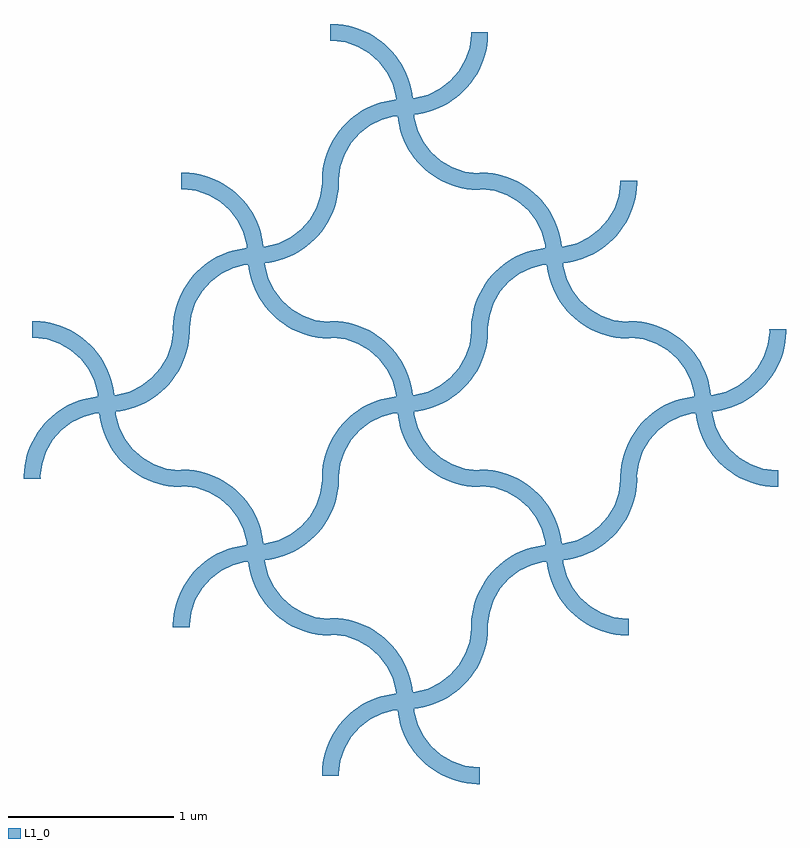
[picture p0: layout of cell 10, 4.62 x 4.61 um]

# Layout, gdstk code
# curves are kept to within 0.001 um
import gdstk
lib = gdstk.Library(unit=1e-6, precision=1e-09)
def P(c, l, *ps):  # polygons
    for p in ps: c.add(gdstk.Polygon(p, *l))
L1_0 = (1, 0)

c_10 = lib.new_cell('10')
P(c_10, L1_0, [(0.933,-0.454),(0.902,-0.452),(0.84,-0.442),(0.78,-0.425),(0.75,-0.413),(0.694,-0.385),(0.668,-0.368),(0.642,-0.349),(0.595,-0.308),(0.554,-0.261),(0.535,-0.235),(0.518,-0.209),(0.503,-0.181),(0.478,-0.123),(0.469,-0.094),(0.455,-0.032),(0.452,-0.006),(0.433,-0.007),(0.357,-0.027),(0.286,-0.062),(0.223,-0.11),(0.171,-0.169),(0.131,-0.237),(0.106,-0.312),(0.095,-0.39),(0.096,-0.404),(-0.006,-0.404),(-0.004,-0.356),(0,-0.325),(0.006,-0.294),(0.023,-0.234),(0.048,-0.176),(0.063,-0.148),(0.099,-0.096),(0.119,-0.072),(0.14,-0.049),(0.187,-0.008),(0.239,0.028),(0.267,0.043),(0.325,0.068),(0.354,0.077),(0.385,0.085),(0.443,0.095),(0.442,0.113),(0.422,0.189),(0.387,0.26),(0.339,0.323),(0.28,0.375),(0.212,0.415),(0.137,0.44),(0.059,0.451),(0.045,0.45),(0.045,0.552),(0.093,0.55),(0.124,0.546),(0.155,0.54),(0.215,0.523),(0.273,0.498),(0.301,0.483),(0.353,0.447),(0.377,0.427),(0.4,0.406),(0.441,0.359),(0.477,0.307),(0.492,0.279),(0.517,0.221),(0.526,0.192),(0.54,0.13),(0.543,0.103),(0.561,0.104),(0.637,0.124),(0.708,0.159),(0.771,0.207),(0.823,0.266),(0.863,0.334),(0.888,0.409),(0.899,0.487),(0.898,0.501),(1,0.501),(0.998,0.453),(0.994,0.422),(0.988,0.391),(0.971,0.331),(0.946,0.273),(0.931,0.245),(0.895,0.193),(0.875,0.169),(0.854,0.146),(0.807,0.105),(0.755,0.069),(0.727,0.054),(0.669,0.029),(0.64,0.02),(0.578,0.006),(0.552,0.003),(0.553,-0.015),(0.573,-0.091),(0.608,-0.162),(0.656,-0.225),(0.715,-0.277),(0.783,-0.317),(0.858,-0.342),(0.936,-0.353),(0.95,-0.352),(0.95,-0.454)],
  [(1.837,-1.354),(1.806,-1.352),(1.744,-1.342),(1.684,-1.325),(1.654,-1.313),(1.598,-1.285),(1.572,-1.268),(1.546,-1.249),(1.499,-1.208),(1.458,-1.161),(1.439,-1.135),(1.422,-1.109),(1.407,-1.081),(1.382,-1.023),(1.373,-0.994),(1.359,-0.932),(1.356,-0.906),(1.337,-0.907),(1.261,-0.927),(1.19,-0.962),(1.127,-1.01),(1.075,-1.069),(1.035,-1.137),(1.01,-1.212),(0.999,-1.29),(1,-1.304),(0.898,-1.304),(0.9,-1.256),(0.904,-1.225),(0.91,-1.194),(0.927,-1.134),(0.952,-1.076),(0.967,-1.048),(1.003,-0.996),(1.023,-0.972),(1.044,-0.949),(1.091,-0.908),(1.143,-0.872),(1.171,-0.857),(1.229,-0.832),(1.258,-0.823),(1.289,-0.815),(1.347,-0.805),(1.346,-0.787),(1.326,-0.711),(1.291,-0.64),(1.243,-0.577),(1.184,-0.525),(1.116,-0.485),(1.041,-0.46),(0.963,-0.449),(0.949,-0.45),(0.949,-0.348),(0.997,-0.35),(1.028,-0.354),(1.059,-0.36),(1.119,-0.377),(1.177,-0.402),(1.205,-0.417),(1.257,-0.453),(1.281,-0.473),(1.304,-0.494),(1.345,-0.541),(1.381,-0.593),(1.396,-0.621),(1.421,-0.679),(1.43,-0.708),(1.444,-0.77),(1.447,-0.797),(1.465,-0.796),(1.541,-0.776),(1.612,-0.741),(1.675,-0.693),(1.727,-0.634),(1.767,-0.566),(1.792,-0.491),(1.803,-0.413),(1.802,-0.399),(1.904,-0.399),(1.902,-0.447),(1.898,-0.478),(1.892,-0.509),(1.875,-0.569),(1.85,-0.627),(1.835,-0.655),(1.799,-0.707),(1.779,-0.731),(1.758,-0.754),(1.711,-0.795),(1.659,-0.831),(1.631,-0.846),(1.573,-0.871),(1.544,-0.88),(1.482,-0.894),(1.456,-0.897),(1.457,-0.915),(1.477,-0.991),(1.512,-1.062),(1.56,-1.125),(1.619,-1.177),(1.687,-1.217),(1.762,-1.242),(1.84,-1.253),(1.854,-1.252),(1.854,-1.354)],
  [(2.741,-2.254),(2.71,-2.252),(2.648,-2.242),(2.588,-2.225),(2.558,-2.213),(2.502,-2.185),(2.476,-2.168),(2.45,-2.149),(2.403,-2.108),(2.362,-2.061),(2.343,-2.035),(2.326,-2.009),(2.311,-1.981),(2.286,-1.923),(2.277,-1.894),(2.263,-1.832),(2.26,-1.806),(2.241,-1.807),(2.165,-1.827),(2.094,-1.862),(2.031,-1.91),(1.979,-1.969),(1.939,-2.037),(1.914,-2.112),(1.903,-2.19),(1.904,-2.204),(1.802,-2.204),(1.804,-2.156),(1.808,-2.125),(1.814,-2.094),(1.831,-2.034),(1.856,-1.976),(1.871,-1.948),(1.907,-1.896),(1.927,-1.872),(1.948,-1.849),(1.995,-1.808),(2.047,-1.772),(2.075,-1.757),(2.133,-1.732),(2.162,-1.723),(2.193,-1.715),(2.251,-1.705),(2.25,-1.687),(2.23,-1.611),(2.195,-1.54),(2.147,-1.477),(2.088,-1.425),(2.02,-1.385),(1.945,-1.36),(1.867,-1.349),(1.853,-1.35),(1.853,-1.248),(1.901,-1.25),(1.932,-1.254),(1.963,-1.26),(2.023,-1.277),(2.081,-1.302),(2.109,-1.317),(2.161,-1.353),(2.185,-1.373),(2.208,-1.394),(2.249,-1.441),(2.285,-1.493),(2.3,-1.521),(2.325,-1.579),(2.334,-1.608),(2.348,-1.67),(2.351,-1.697),(2.369,-1.696),(2.445,-1.676),(2.516,-1.641),(2.579,-1.593),(2.631,-1.534),(2.671,-1.466),(2.696,-1.391),(2.707,-1.313),(2.706,-1.299),(2.808,-1.299),(2.806,-1.347),(2.802,-1.378),(2.796,-1.409),(2.779,-1.469),(2.754,-1.527),(2.739,-1.555),(2.703,-1.607),(2.683,-1.631),(2.662,-1.654),(2.615,-1.695),(2.563,-1.731),(2.535,-1.746),(2.477,-1.771),(2.448,-1.78),(2.386,-1.794),(2.36,-1.797),(2.361,-1.815),(2.381,-1.891),(2.416,-1.962),(2.464,-2.025),(2.523,-2.077),(2.591,-2.117),(2.666,-2.142),(2.744,-2.153),(2.758,-2.152),(2.758,-2.254)],
  [(1.837,0.446),(1.806,0.448),(1.744,0.458),(1.684,0.475),(1.654,0.487),(1.598,0.515),(1.572,0.532),(1.546,0.551),(1.499,0.592),(1.458,0.639),(1.439,0.665),(1.422,0.691),(1.407,0.719),(1.382,0.777),(1.373,0.806),(1.359,0.868),(1.356,0.894),(1.337,0.893),(1.261,0.873),(1.19,0.838),(1.127,0.79),(1.075,0.731),(1.035,0.663),(1.01,0.588),(0.999,0.51),(1,0.496),(0.898,0.496),(0.9,0.544),(0.904,0.575),(0.91,0.606),(0.927,0.666),(0.952,0.724),(0.967,0.752),(1.003,0.804),(1.023,0.828),(1.044,0.851),(1.091,0.892),(1.143,0.928),(1.171,0.943),(1.229,0.968),(1.258,0.977),(1.289,0.985),(1.347,0.995),(1.346,1.013),(1.326,1.089),(1.291,1.16),(1.243,1.223),(1.184,1.275),(1.116,1.315),(1.041,1.34),(0.963,1.351),(0.949,1.35),(0.949,1.452),(0.997,1.45),(1.028,1.446),(1.059,1.44),(1.119,1.423),(1.177,1.398),(1.205,1.383),(1.257,1.347),(1.281,1.327),(1.304,1.306),(1.345,1.259),(1.381,1.207),(1.396,1.179),(1.421,1.121),(1.43,1.092),(1.444,1.03),(1.447,1.003),(1.465,1.004),(1.541,1.024),(1.612,1.059),(1.675,1.107),(1.727,1.166),(1.767,1.234),(1.792,1.309),(1.803,1.387),(1.802,1.401),(1.904,1.401),(1.902,1.353),(1.898,1.322),(1.892,1.291),(1.875,1.231),(1.85,1.173),(1.835,1.145),(1.799,1.093),(1.779,1.069),(1.758,1.046),(1.711,1.005),(1.659,0.969),(1.631,0.954),(1.573,0.929),(1.544,0.92),(1.482,0.906),(1.456,0.903),(1.457,0.885),(1.477,0.809),(1.512,0.738),(1.56,0.675),(1.619,0.623),(1.687,0.583),(1.762,0.558),(1.84,0.547),(1.854,0.548),(1.854,0.446)],
  [(2.741,-0.454),(2.71,-0.452),(2.648,-0.442),(2.588,-0.425),(2.558,-0.413),(2.502,-0.385),(2.476,-0.368),(2.45,-0.349),(2.403,-0.308),(2.362,-0.261),(2.343,-0.235),(2.326,-0.209),(2.311,-0.181),(2.286,-0.123),(2.277,-0.094),(2.263,-0.032),(2.26,-0.006),(2.241,-0.007),(2.165,-0.027),(2.094,-0.062),(2.031,-0.11),(1.979,-0.169),(1.939,-0.237),(1.914,-0.312),(1.903,-0.39),(1.904,-0.404),(1.802,-0.404),(1.804,-0.356),(1.808,-0.325),(1.814,-0.294),(1.831,-0.234),(1.856,-0.176),(1.871,-0.148),(1.907,-0.096),(1.927,-0.072),(1.948,-0.049),(1.995,-0.008),(2.047,0.028),(2.075,0.043),(2.133,0.068),(2.162,0.077),(2.193,0.085),(2.251,0.095),(2.25,0.113),(2.23,0.189),(2.195,0.26),(2.147,0.323),(2.088,0.375),(2.02,0.415),(1.945,0.44),(1.867,0.451),(1.853,0.45),(1.853,0.552),(1.901,0.55),(1.932,0.546),(1.963,0.54),(2.023,0.523),(2.081,0.498),(2.109,0.483),(2.161,0.447),(2.185,0.427),(2.208,0.406),(2.249,0.359),(2.285,0.307),(2.3,0.279),(2.325,0.221),(2.334,0.192),(2.348,0.13),(2.351,0.103),(2.369,0.104),(2.445,0.124),(2.516,0.159),(2.579,0.207),(2.631,0.266),(2.671,0.334),(2.696,0.409),(2.707,0.487),(2.706,0.501),(2.808,0.501),(2.806,0.453),(2.802,0.422),(2.796,0.391),(2.779,0.331),(2.754,0.273),(2.739,0.245),(2.703,0.193),(2.683,0.169),(2.662,0.146),(2.615,0.105),(2.563,0.069),(2.535,0.054),(2.477,0.029),(2.448,0.02),(2.386,0.006),(2.36,0.003),(2.361,-0.015),(2.381,-0.091),(2.416,-0.162),(2.464,-0.225),(2.523,-0.277),(2.591,-0.317),(2.666,-0.342),(2.744,-0.353),(2.758,-0.352),(2.758,-0.454)],
  [(3.645,-1.354),(3.614,-1.352),(3.552,-1.342),(3.492,-1.325),(3.462,-1.313),(3.406,-1.285),(3.38,-1.268),(3.354,-1.249),(3.307,-1.208),(3.266,-1.161),(3.247,-1.135),(3.23,-1.109),(3.215,-1.081),(3.19,-1.023),(3.181,-0.994),(3.167,-0.932),(3.164,-0.906),(3.145,-0.907),(3.069,-0.927),(2.998,-0.962),(2.935,-1.01),(2.883,-1.069),(2.843,-1.137),(2.818,-1.212),(2.807,-1.29),(2.808,-1.304),(2.706,-1.304),(2.708,-1.256),(2.712,-1.225),(2.718,-1.194),(2.735,-1.134),(2.76,-1.076),(2.775,-1.048),(2.811,-0.996),(2.831,-0.972),(2.852,-0.949),(2.899,-0.908),(2.951,-0.872),(2.979,-0.857),(3.037,-0.832),(3.066,-0.823),(3.097,-0.815),(3.155,-0.805),(3.154,-0.787),(3.134,-0.711),(3.099,-0.64),(3.051,-0.577),(2.992,-0.525),(2.924,-0.485),(2.849,-0.46),(2.771,-0.449),(2.757,-0.45),(2.757,-0.348),(2.805,-0.35),(2.836,-0.354),(2.867,-0.36),(2.927,-0.377),(2.985,-0.402),(3.013,-0.417),(3.065,-0.453),(3.089,-0.473),(3.112,-0.494),(3.153,-0.541),(3.189,-0.593),(3.204,-0.621),(3.229,-0.679),(3.238,-0.708),(3.252,-0.77),(3.255,-0.797),(3.273,-0.796),(3.349,-0.776),(3.42,-0.741),(3.483,-0.693),(3.535,-0.634),(3.575,-0.566),(3.6,-0.491),(3.611,-0.413),(3.61,-0.399),(3.712,-0.399),(3.71,-0.447),(3.706,-0.478),(3.7,-0.509),(3.683,-0.569),(3.658,-0.627),(3.643,-0.655),(3.607,-0.707),(3.587,-0.731),(3.566,-0.754),(3.519,-0.795),(3.467,-0.831),(3.439,-0.846),(3.381,-0.871),(3.352,-0.88),(3.29,-0.894),(3.264,-0.897),(3.265,-0.915),(3.285,-0.991),(3.32,-1.062),(3.368,-1.125),(3.427,-1.177),(3.495,-1.217),(3.57,-1.242),(3.648,-1.253),(3.662,-1.252),(3.662,-1.354)],
  [(2.741,1.346),(2.71,1.348),(2.648,1.358),(2.588,1.375),(2.558,1.387),(2.502,1.415),(2.476,1.432),(2.45,1.451),(2.403,1.492),(2.362,1.539),(2.343,1.565),(2.326,1.591),(2.311,1.619),(2.286,1.677),(2.277,1.706),(2.263,1.768),(2.26,1.794),(2.241,1.793),(2.165,1.773),(2.094,1.738),(2.031,1.69),(1.979,1.631),(1.939,1.563),(1.914,1.488),(1.903,1.41),(1.904,1.396),(1.802,1.396),(1.804,1.444),(1.808,1.475),(1.814,1.506),(1.831,1.566),(1.856,1.624),(1.871,1.652),(1.907,1.704),(1.927,1.728),(1.948,1.751),(1.995,1.792),(2.047,1.828),(2.075,1.843),(2.133,1.868),(2.162,1.877),(2.193,1.885),(2.251,1.895),(2.25,1.913),(2.23,1.989),(2.195,2.06),(2.147,2.123),(2.088,2.175),(2.02,2.215),(1.945,2.24),(1.867,2.251),(1.853,2.25),(1.853,2.352),(1.901,2.35),(1.932,2.346),(1.963,2.34),(2.023,2.323),(2.081,2.298),(2.109,2.283),(2.161,2.247),(2.185,2.227),(2.208,2.206),(2.249,2.159),(2.285,2.107),(2.3,2.079),(2.325,2.021),(2.334,1.992),(2.348,1.93),(2.351,1.903),(2.369,1.904),(2.445,1.924),(2.516,1.959),(2.579,2.007),(2.631,2.066),(2.671,2.134),(2.696,2.209),(2.707,2.287),(2.706,2.301),(2.808,2.301),(2.806,2.253),(2.802,2.222),(2.796,2.191),(2.779,2.131),(2.754,2.073),(2.739,2.045),(2.703,1.993),(2.683,1.969),(2.662,1.946),(2.615,1.905),(2.563,1.869),(2.535,1.854),(2.477,1.829),(2.448,1.82),(2.386,1.806),(2.36,1.803),(2.361,1.785),(2.381,1.709),(2.416,1.638),(2.464,1.575),(2.523,1.523),(2.591,1.483),(2.666,1.458),(2.744,1.447),(2.758,1.448),(2.758,1.346)],
  [(3.645,0.446),(3.614,0.448),(3.552,0.458),(3.492,0.475),(3.462,0.487),(3.406,0.515),(3.38,0.532),(3.354,0.551),(3.307,0.592),(3.266,0.639),(3.247,0.665),(3.23,0.691),(3.215,0.719),(3.19,0.777),(3.181,0.806),(3.167,0.868),(3.164,0.894),(3.145,0.893),(3.069,0.873),(2.998,0.838),(2.935,0.79),(2.883,0.731),(2.843,0.663),(2.818,0.588),(2.807,0.51),(2.808,0.496),(2.706,0.496),(2.708,0.544),(2.712,0.575),(2.718,0.606),(2.735,0.666),(2.76,0.724),(2.775,0.752),(2.811,0.804),(2.831,0.828),(2.852,0.851),(2.899,0.892),(2.951,0.928),(2.979,0.943),(3.037,0.968),(3.066,0.977),(3.097,0.985),(3.155,0.995),(3.154,1.013),(3.134,1.089),(3.099,1.16),(3.051,1.223),(2.992,1.275),(2.924,1.315),(2.849,1.34),(2.771,1.351),(2.757,1.35),(2.757,1.452),(2.805,1.45),(2.836,1.446),(2.867,1.44),(2.927,1.423),(2.985,1.398),(3.013,1.383),(3.065,1.347),(3.089,1.327),(3.112,1.306),(3.153,1.259),(3.189,1.207),(3.204,1.179),(3.229,1.121),(3.238,1.092),(3.252,1.03),(3.255,1.003),(3.273,1.004),(3.349,1.024),(3.42,1.059),(3.483,1.107),(3.535,1.166),(3.575,1.234),(3.6,1.309),(3.611,1.387),(3.61,1.401),(3.712,1.401),(3.71,1.353),(3.706,1.322),(3.7,1.291),(3.683,1.231),(3.658,1.173),(3.643,1.145),(3.607,1.093),(3.587,1.069),(3.566,1.046),(3.519,1.005),(3.467,0.969),(3.439,0.954),(3.381,0.929),(3.352,0.92),(3.29,0.906),(3.264,0.903),(3.265,0.885),(3.285,0.809),(3.32,0.738),(3.368,0.675),(3.427,0.623),(3.495,0.583),(3.57,0.558),(3.648,0.547),(3.662,0.548),(3.662,0.446)],
  [(4.549,-0.454),(4.518,-0.452),(4.456,-0.442),(4.396,-0.425),(4.366,-0.413),(4.31,-0.385),(4.284,-0.368),(4.258,-0.349),(4.211,-0.308),(4.17,-0.261),(4.151,-0.235),(4.134,-0.209),(4.119,-0.181),(4.094,-0.123),(4.085,-0.094),(4.071,-0.032),(4.068,-0.006),(4.049,-0.007),(3.973,-0.027),(3.902,-0.062),(3.839,-0.11),(3.787,-0.169),(3.747,-0.237),(3.722,-0.312),(3.711,-0.39),(3.712,-0.404),(3.61,-0.404),(3.612,-0.356),(3.616,-0.325),(3.622,-0.294),(3.639,-0.234),(3.664,-0.176),(3.679,-0.148),(3.715,-0.096),(3.735,-0.072),(3.756,-0.049),(3.803,-0.008),(3.855,0.028),(3.883,0.043),(3.941,0.068),(3.97,0.077),(4.001,0.085),(4.059,0.095),(4.058,0.113),(4.038,0.189),(4.003,0.26),(3.955,0.323),(3.896,0.375),(3.828,0.415),(3.753,0.44),(3.675,0.451),(3.661,0.45),(3.661,0.552),(3.709,0.55),(3.74,0.546),(3.771,0.54),(3.831,0.523),(3.889,0.498),(3.917,0.483),(3.969,0.447),(3.993,0.427),(4.016,0.406),(4.057,0.359),(4.093,0.307),(4.108,0.279),(4.133,0.221),(4.142,0.192),(4.156,0.13),(4.159,0.103),(4.177,0.104),(4.253,0.124),(4.324,0.159),(4.387,0.207),(4.439,0.266),(4.479,0.334),(4.504,0.409),(4.515,0.487),(4.514,0.501),(4.616,0.501),(4.614,0.453),(4.61,0.422),(4.604,0.391),(4.587,0.331),(4.562,0.273),(4.547,0.245),(4.511,0.193),(4.491,0.169),(4.47,0.146),(4.423,0.105),(4.371,0.069),(4.343,0.054),(4.285,0.029),(4.256,0.02),(4.194,0.006),(4.168,0.003),(4.169,-0.015),(4.189,-0.091),(4.224,-0.162),(4.272,-0.225),(4.331,-0.277),(4.399,-0.317),(4.474,-0.342),(4.552,-0.353),(4.566,-0.352),(4.566,-0.454)])

lib.write_gds('10.gds')
